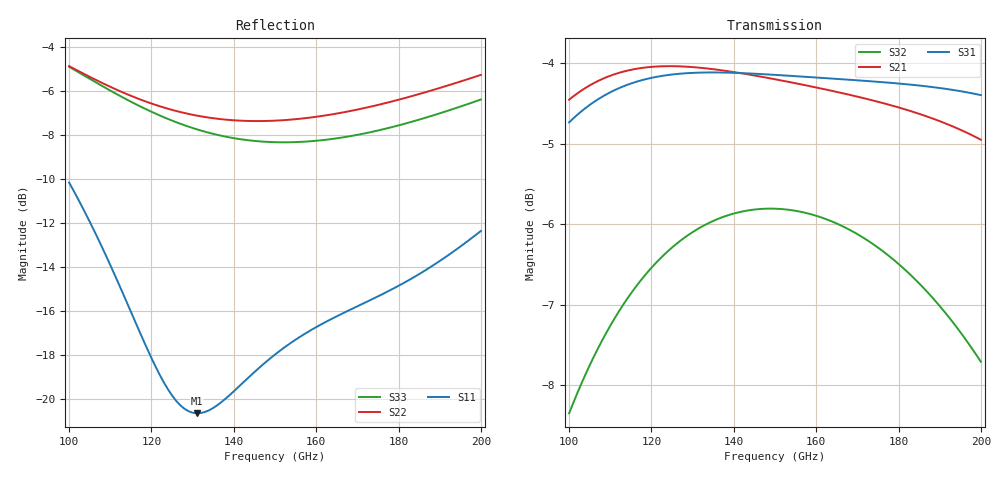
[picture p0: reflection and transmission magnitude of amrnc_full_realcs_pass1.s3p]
! Created with skrf 2.1.0 (http://scikit-rf.org).
# GHz S DB R 50.0
! Port[1] = P1
! Port[2] = P2
! Port[3] = P3
!freq dBS11 angS11 dBS12 angS12 dBS13 angS13
! dBS21 angS21 dBS22 angS22 dBS23 angS23
! dBS31 angS31 dBS32 angS32 dBS33 angS33
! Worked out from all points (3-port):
!   101 points, 100 GHz to 200 GHz, reference 50 ohm
!   strongest paths, dB at 100 GHz, 125 GHz, 150 GHz, 175 GHz, 200 GHz:
!     S31: -4.7, -4.1, -4.1, -4.2, -4.4
!     S21: -4.5, -4.0, -4.2, -4.5, -5.0
!     S32: -8.3, -6.3, -5.8, -6.3, -7.7
!   lowest |S11| = -20.6 dB at 131 GHz (marker M1), VSWR 1.21, Z = 41.7 + j1.79 ohm
!   |S11| at or under -10 dB: start of sweep to end of sweep
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100  -10.14 132.9  -4.46 -16.1  -4.74 159.4
     -4.46 -16.1  -4.85 60.1  -8.35 89.0
     -4.74 159.4  -8.35 89.0  -4.88 48.4
111  -14.31 128.5  -4.14 -33.4  -4.34 140.8
     -4.14 -33.4  -5.88 50.5  -7.17 71.6
     -4.34 140.8  -7.17 71.6  -6.07 36.7
123  -19.22 143.5  -4.04 -50.8  -4.16 122.1
     -4.04 -50.8  -6.73 41.8  -6.38 53.8
     -4.16 122.1  -6.38 53.8  -7.17 26.0
127  -20.26 154.6  -4.04 -56.2  -4.13 116.3
     -4.04 -56.2  -6.94 39.1  -6.21 48.2
     -4.13 116.3  -6.21 48.2  -7.47 22.8
131  -20.63 166.7  -4.05 -61.5  -4.12 110.6
     -4.05 -61.5  -7.10 36.4  -6.07 42.8
     -4.12 110.6  -6.07 42.8  -7.72 19.7
150  -17.96 -162.9  -4.20 -85.1  -4.15 85.2
     -4.20 -85.1  -7.33 23.0  -5.81 18.3
     -4.15 85.2  -5.81 18.3  -8.31 5.6
161  -16.61 -158.6  -4.31 -98.0  -4.18 71.4
     -4.31 -98.0  -7.13 14.4  -5.91 5.0
     -4.18 71.4  -5.91 5.0  -8.23 -3.0
173  -15.50 -155.4  -4.45 -111.9  -4.23 56.5
     -4.45 -111.9  -6.70 4.0  -6.22 -9.2
     -4.23 56.5  -6.22 -9.2  -7.86 -12.9
187  -14.07 -152.2  -4.67 -128.4  -4.29 39.2
     -4.67 -128.4  -6.01 -9.1  -6.84 -25.5
     -4.29 39.2  -6.84 -25.5  -7.17 -25.4
200  -12.34 -151.6  -4.95 -144.1  -4.40 22.7
     -4.95 -144.1  -5.25 -22.3  -7.71 -40.8
     -4.40 22.7  -7.71 -40.8  -6.37 -37.8
